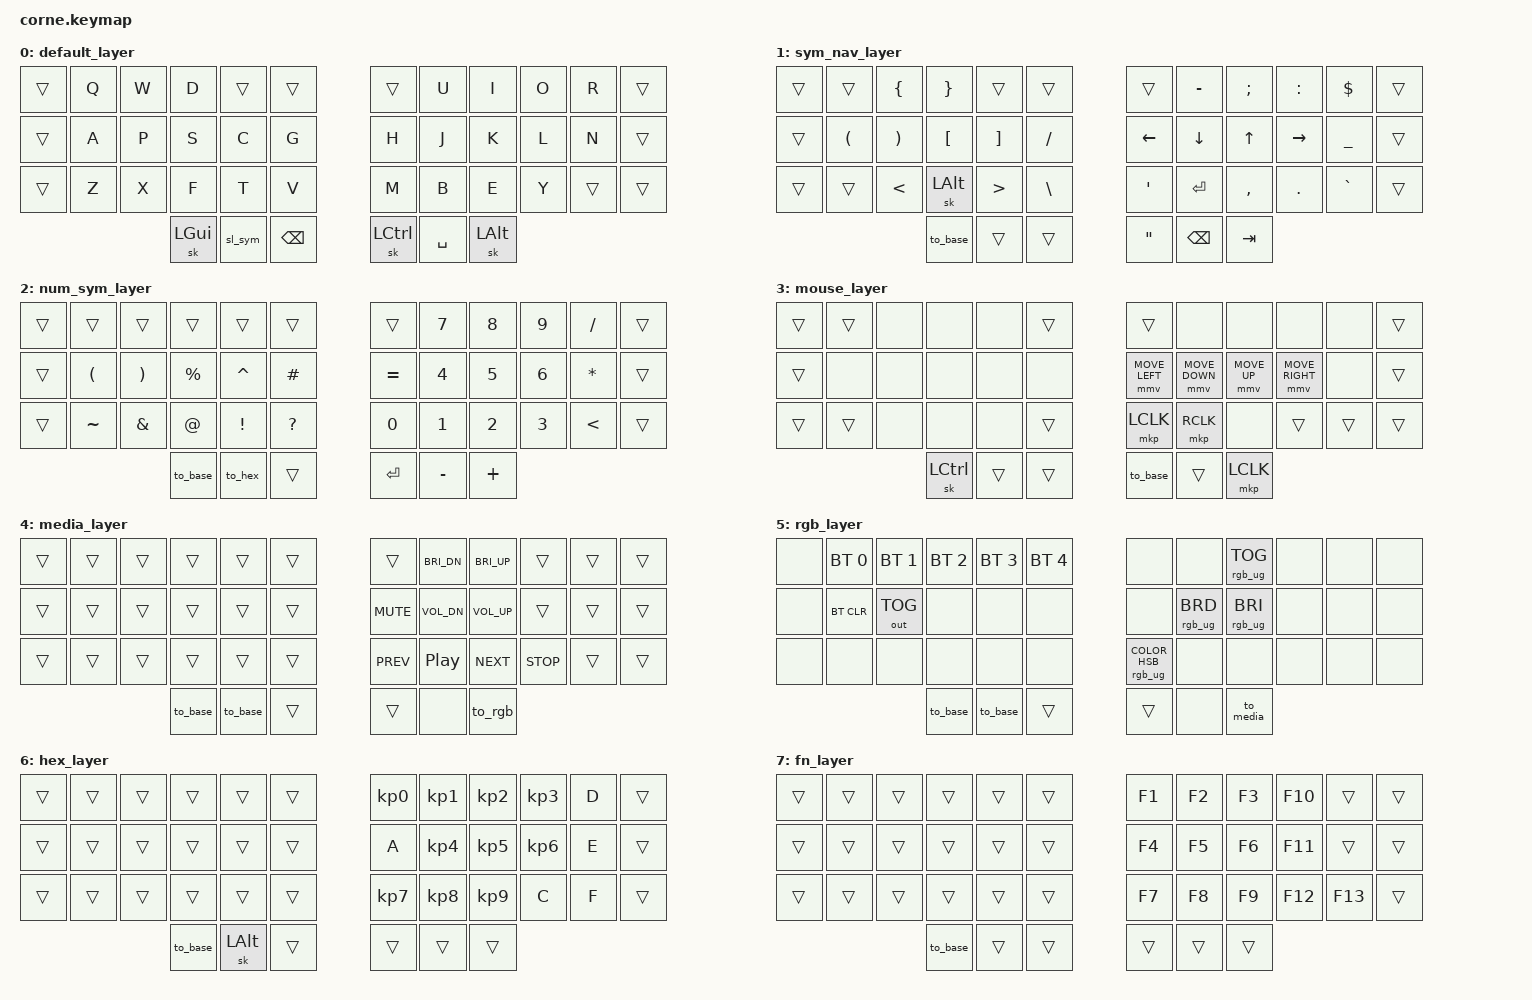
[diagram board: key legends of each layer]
/*
 * Corne 42-key shield (6x3+3 per side), outer column = &trans (not populated)
 * Ported from ZSA Moonlander QMK layout
 *
 * Key positions:
 *  0  1  2  3  4  5    6  7  8  9 10 11
 * 12 13 14 15 16 17   18 19 20 21 22 23
 * 24 25 26 27 28 29   30 31 32 33 34 35
 *             36 37 38   39 40 41
 *
 * Outer cols (0,5,6,11,12,17,18,23,24,29,30,35) = &trans (no key)
 */

#include <behaviors.dtsi>
#include <dt-bindings/zmk/keys.h>
#include <dt-bindings/zmk/rgb.h>
#include <dt-bindings/zmk/mouse.h>
#include <dt-bindings/zmk/bt.h>
#include <dt-bindings/zmk/outputs.h>

/*
 * Layer colour indicators: each layer switch also sets the underglow colour.
 * Base is a faint purple ("normal"); a bright colour means you're parked on
 * another layer. Hue 0-360, sat/brightness 0-100. RGB commands are global,
 * so both halves change together. RGB_EFS_CMD 0 forces the Solid effect
 * so a saved animated effect (e.g. Swirl) cannot override the colours.
 */
#define COLOR_BASE  RGB_COLOR_HSB(270, 100, 10)  // L0 faint purple
#define COLOR_SYM   RGB_COLOR_HSB(110, 100, 40)  // L1 green  (while L1 key held)
#define COLOR_NUM   RGB_COLOR_HSB(60, 100, 40)   // L2 yellow (while combo held)
#define COLOR_MOUSE RGB_COLOR_HSB(320, 100, 40)  // L3 pink   (layer not reachable yet)
#define COLOR_MEDIA RGB_COLOR_HSB(25, 100, 40)   // L4 orange
#define COLOR_RGB   RGB_COLOR_HSB(0, 0, 40)      // L5 white
#define COLOR_HEX   RGB_COLOR_HSB(175, 100, 40)  // L6 teal
#define COLOR_FN    RGB_COLOR_HSB(220, 100, 40)  // L7 blue

#define SET_COLOR(color) &rgb_ug RGB_EFS_CMD 0 &rgb_ug color

// Switch to a layer and set its colour (for &to-style layers you park on).
#define LAYER_COLOR_MACRO(name, layer, color)                         \
    name: name {                                                      \
        compatible = "zmk,behavior-macro";                            \
        #binding-cells = <0>;                                         \
        wait-ms = <0>;                                                \
        tap-ms = <10>;                                                \
        bindings = <&macro_tap &to layer SET_COLOR(color)>;           \
    };

// Show a colour while a held layer key is down, then restore base colour.
#define HOLD_COLOR_MACRO(name, behavior, color)                       \
    name: name {                                                      \
        compatible = "zmk,behavior-macro";                            \
        #binding-cells = <0>;                                         \
        wait-ms = <0>;                                                \
        tap-ms = <10>;                                                \
        bindings                                                      \
            = <&macro_tap SET_COLOR(color)>                           \
            , <&macro_press behavior>                                 \
            , <&macro_pause_for_release>                              \
            , <&macro_release behavior>                               \
            , <&macro_tap SET_COLOR(COLOR_BASE)>;                     \
    };

/ {
    macros {
        LAYER_COLOR_MACRO(to_base,  0, COLOR_BASE)
        LAYER_COLOR_MACRO(to_mouse, 3, COLOR_MOUSE)
        LAYER_COLOR_MACRO(to_media, 4, COLOR_MEDIA)
        LAYER_COLOR_MACRO(to_rgb,   5, COLOR_RGB)
        LAYER_COLOR_MACRO(to_hex,   6, COLOR_HEX)
        LAYER_COLOR_MACRO(to_fn,    7, COLOR_FN)
        HOLD_COLOR_MACRO(sl_sym,  &sl 1, COLOR_SYM)
        HOLD_COLOR_MACRO(mo_num,  &mo 2, COLOR_NUM)
    };

    combos {
        compatible = "zmk,combos";

        // J(19) + K(20) = Escape
        combo_esc {
            timeout-ms = <50>;
            key-positions = <19 20>;
            bindings = <&kp ESC>;
        };

        // K(20) + L(21) = one-shot Meh (Ctrl+Shift+Alt)
        combo_meh {
            timeout-ms = <50>;
            key-positions = <20 21>;
            bindings = <&sk LS(LC(LALT))>;
        };

        // J(19) + L(21) = to media layer
        combo_media {
            timeout-ms = <50>;
            key-positions = <19 21>;
            bindings = <&to_media>;
        };

        // Bspc(38) + Space(39) = one-shot Shift
        combo_shift {
            timeout-ms = <50>;
            key-positions = <38 39>;
            bindings = <&sk LSHFT>;
        };

        // SL1(37) + SPC(40) = momentary layer 2 (num/sym)
        combo_num {
            timeout-ms = <50>;
            key-positions = <37 40>;
            bindings = <&mo_num>;
        };

        // J(19) + K(20) + L(21) = one-shot Shift
        combo_shift2 {
            timeout-ms = <50>;
            key-positions = <19 20 21>;
            bindings = <&sk LSHFT>;
        };

        // B(31) + Y(33) = to fn layer
        combo_fn {
            timeout-ms = <75>;
            key-positions = <31 33>;
            bindings = <&to_fn>;
        };
    };

    keymap {
        compatible = "zmk,keymap";

        default_layer {
            // Layer 0 — Base
            // ╭──────┬──────┬──────┬──────┬──────┬──────╮   ╭──────┬──────┬──────┬──────┬──────┬──────╮
            // │      │   Q  │   W  │   D  │      │      │   │      │   U  │   I  │   O  │   R  │      │
            // ├──────┼──────┼──────┼──────┼──────┼──────┤   ├──────┼──────┼──────┼──────┼──────┼──────┤
            // │      │   A  │   P  │   S  │   C  │   G  │   │   H  │   J  │   K  │   L  │   N  │      │
            // ├──────┼──────┼──────┼──────┼──────┼──────┤   ├──────┼──────┼──────┼──────┼──────┼──────┤
            // │      │   Z  │   X  │   F  │   T  │   V  │   │   M  │   B  │   E  │   Y  │      │      │
            // ╰──────┴──────┴──────┼──────┼──────┼──────┤   ├──────┼──────┼──────┴──────┴──────┴──────╯
            //                      │  SL2 │ os⌘  │  BSP │   │  SPC │ os⌥  │ os⌃  │
            //                      ╰──────┴──────┴──────╯   ╰──────┴──────┴──────╯
            bindings = <
                &trans  &kp Q    &kp W    &kp D    &trans   &trans        &trans   &kp U    &kp I    &kp O    &kp R    &trans
                &trans  &kp A    &kp P    &kp S    &kp C    &kp G         &kp H    &kp J    &kp K    &kp L    &kp N    &trans
                &trans  &kp Z    &kp X    &kp F    &kp T    &kp V         &kp M    &kp B    &kp E    &kp Y    &trans   &trans
                                          &sk LGUI &sl_sym   &kp BSPC      &sk LCTRL &kp SPACE &sk LALT
            >;
        };

        sym_nav_layer {
            // Layer 1 — Symbols & Navigation
            // ╭──────┬──────┬──────┬──────┬──────┬──────╮   ╭──────┬──────┬──────┬──────┬──────┬──────╮
            // │      │      │   {  │   }  │      │      │   │      │   -  │   ;  │   :  │   $  │      │
            // ├──────┼──────┼──────┼──────┼──────┼──────┤   ├──────┼──────┼──────┼──────┼──────┼──────┤
            // │      │   (  │   )  │   [  │   ]  │   /  │   │   ←  │   ↓  │   ↑  │   →  │   _  │      │
            // ├──────┼──────┼──────┼──────┼──────┼──────┤   ├──────┼──────┼──────┼──────┼──────┼──────┤
            // │      │      │   <  │ os⌥  │   >  │   \  │   │  '   │  ENT │   ,  │   .  │   `  │      │
            // ╰──────┴──────┴──────┼──────┼──────┼──────┤   ├──────┼──────┼──────┴──────┴──────┴──────╯
            //                      │  L0  │      │      │   │   "  │  BSP │  TAB │
            //                      ╰──────┴──────┴──────╯   ╰──────┴──────┴──────╯
            bindings = <
                &trans  &trans   &kp LBRC &kp RBRC &trans   &trans        &trans    &kp MINUS &kp SEMI  &kp COLON &kp DLLR  &trans
                &trans  &kp LPAR &kp RPAR &kp LBKT &kp RBKT &kp SLASH     &kp LEFT  &kp DOWN  &kp UP    &kp RIGHT &kp UNDER &trans
                &trans  &trans   &kp LT   &sk LALT &kp GT   &kp BSLH      &kp SQT   &kp ENTER &kp COMMA &kp DOT   &kp GRAVE &trans
                                          &to_base    &trans   &trans         &kp DQT   &kp BSPC  &kp TAB
            >;
        };

        num_sym_layer {
            // Layer 2 — Numbers & Symbols
            // ╭──────┬──────┬──────┬──────┬──────┬──────╮   ╭──────┬──────┬──────┬──────┬──────┬──────╮
            // │      │      │      │      │      │      │   │      │   7  │   8  │   9  │   /  │      │
            // ├──────┼──────┼──────┼──────┼──────┼──────┤   ├──────┼──────┼──────┼──────┼──────┼──────┤
            // │      │   (  │   )  │   %  │   ^  │   #  │   │   =  │   4  │   5  │   6  │   *  │      │
            // ├──────┼──────┼──────┼──────┼──────┼──────┤   ├──────┼──────┼──────┼──────┼──────┼──────┤
            // │      │   ~  │   &  │   @  │   !  │   ?  │   │   0  │   1  │   2  │   3  │   <  │      │
            // ╰──────┴──────┴──────┼──────┼──────┼──────┤   ├──────┼──────┼──────┴──────┴──────┴──────╯
            //                      │  L0  │  L6  │      │   │  ENT │   -  │   +  │
            //                      ╰──────┴──────┴──────╯   ╰──────┴──────┴──────╯
            bindings = <
                &trans  &trans    &trans   &trans    &trans   &trans        &trans    &kp N7   &kp N8   &kp N9  &kp SLASH &trans
                &trans  &kp LPAR  &kp RPAR &kp PRCNT &kp CARET &kp HASH    &kp EQUAL &kp N4   &kp N5   &kp N6  &kp STAR  &trans
                &trans  &kp TILDE &kp AMPS &kp AT    &kp EXCL &kp QMARK    &kp N0    &kp N1   &kp N2   &kp N3  &kp LT    &trans
                                           &to_base     &to_hex    &trans        &kp ENTER &kp MINUS &kp PLUS
            >;
        };

        mouse_layer {
            // Layer 3 — Mouse
            bindings = <
                &trans  &trans  &none   &none   &none   &trans        &trans         &none          &none        &none          &none   &trans
                &trans  &none   &none   &none   &none   &none         &mmv MOVE_LEFT &mmv MOVE_DOWN &mmv MOVE_UP &mmv MOVE_RIGHT &none   &trans
                &trans  &trans  &none   &none   &none   &trans        &mkp LCLK      &mkp RCLK      &none        &trans         &trans  &trans
                                        &sk LCTRL &trans &trans        &to_base          &trans         &mkp LCLK
            >;
        };

        media_layer {
            // Layer 4 — Media
            bindings = <
                &trans  &trans  &trans  &trans  &trans  &trans        &trans       &kp C_BRI_DN &kp C_BRI_UP &trans      &trans      &trans
                &trans  &trans  &trans  &trans  &trans  &trans        &kp C_MUTE   &kp C_VOL_DN &kp C_VOL_UP &trans      &trans      &trans
                &trans  &trans  &trans  &trans  &trans  &trans        &kp C_PREV   &kp C_PP     &kp C_NEXT   &kp C_STOP  &trans      &trans
                                        &to_base   &to_base  &trans        &trans       &none        &to_rgb
            >;
        };

        rgb_layer {
            // Layer 5 — RGB + Bluetooth (left: BT profiles 0-4 on top row, BT_CLR + USB/BLE toggle on home row)
            bindings = <
                &none   &bt BT_SEL 0 &bt BT_SEL 1 &bt BT_SEL 2 &bt BT_SEL 3 &bt BT_SEL 4   &none    &none           &rgb_ug RGB_TOG &none            &none  &none
                &none   &bt BT_CLR  &out OUT_TOG &none &none &none          &none    &rgb_ug RGB_BRD &rgb_ug RGB_BRI &none  &none  &none
                &none   &none   &none   &none   &none   &none         &rgb_ug RGB_COLOR_HSB(0,100,33) &none &none &none &none &none
                                        &to_base   &to_base  &trans        &trans   &none           &to_media
            >;
        };

        hex_layer {
            // Layer 6 — Hex / Numpad
            bindings = <
                &trans  &trans  &trans  &trans  &trans  &trans        &kp KP_N0 &kp KP_N1 &kp KP_N2 &kp KP_N3 &kp D  &trans
                &trans  &trans  &trans  &trans  &trans  &trans        &kp A     &kp KP_N4 &kp KP_N5 &kp KP_N6 &kp E  &trans
                &trans  &trans  &trans  &trans  &trans  &trans        &kp KP_N7 &kp KP_N8 &kp KP_N9 &kp C     &kp F  &trans
                                        &to_base   &sk LALT &trans       &trans    &trans    &trans
            >;
        };

        fn_layer {
            // Layer 7 — Function Keys
            bindings = <
                &trans  &trans  &trans  &trans  &trans  &trans        &kp F1  &kp F2  &kp F3  &kp F10  &trans   &trans
                &trans  &trans  &trans  &trans  &trans  &trans        &kp F4  &kp F5  &kp F6  &kp F11  &trans   &trans
                &trans  &trans  &trans  &trans  &trans  &trans        &kp F7  &kp F8  &kp F9  &kp F12  &kp F13  &trans
                                        &to_base   &trans  &trans        &trans  &trans  &trans
            >;
        };
    };
};
